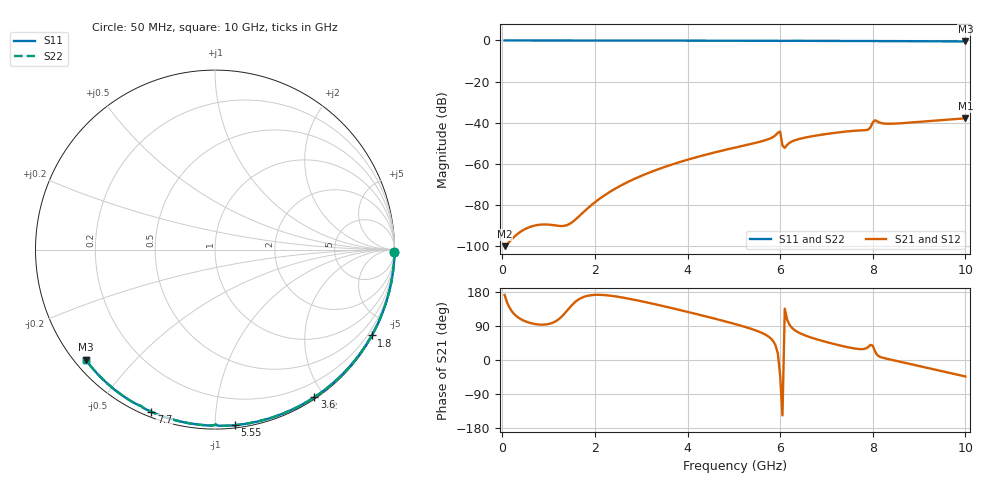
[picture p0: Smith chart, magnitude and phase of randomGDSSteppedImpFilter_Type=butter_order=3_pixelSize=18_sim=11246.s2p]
! freq	dB(S11)	phase(S11)	dB(S12)	phase(S12)
!  dB(S21)	phase(S21)	dB(S22)	phase(S22)
!S-par simulation data
#  GHz  S  DB  R 50
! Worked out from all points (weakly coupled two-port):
!   200 points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, 50 MHz to 10 GHz, reference 50 ohm
!   highest |S21| = -37.84 dB at 10 GHz (marker M1); lowest = -99.9 dB at 50 MHz (marker M2)
!   lowest |S11| = -0.5 dB at 10 GHz (marker M3), VSWR 36.25, Z = 1.57 - j18.4 ohm
!   |S11| at or under -10 dB: nowhere
!   |S22| runs from -0.5 to 0.0 dB; largest |S21 - S12| = 0
!   S11 on the Smith chart (normalised r, x): 50 MHz: open; 1.8 GHz: 0.03, -3.91; 3.6 GHz: 0.02, -1.88; 5.55 GHz: 0.02, -1.12; 7.7 GHz: 0.02, -0.68; 10 GHz: 0.03, -0.37
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0.05  -0.00 -0.8  -99.94 171.7  -99.94 171.7  -0.00 -0.8
1.75  -0.04 -27.9  -83.46 166.1  -83.46 166.1  -0.04 -27.9
1.8  -0.04 -28.7  -82.42 168.1  -82.42 168.1  -0.04 -28.7
1.95  -0.04 -31.0  -79.51 171.5  -79.51 171.5  -0.04 -31.0
2.55  -0.05 -40.3  -70.60 165.8  -70.60 165.8  -0.05 -40.3
3.4  -0.07 -53.1  -62.29 144.3  -62.29 144.3  -0.07 -53.1
3.6  -0.08 -56.0  -60.73 138.7  -60.73 138.7  -0.08 -56.0
5.05  -0.12 -76.7  -51.92 94.1  -51.92 94.1  -0.12 -76.7
5.55  -0.14 -83.6  -49.29 74.5  -49.29 74.5  -0.14 -83.6
5.8  -0.15 -87.0  -47.47 56.7  -47.47 56.7  -0.15 -87.0
6  -0.22 -89.8  -44.32 -40.7  -44.32 -40.7  -0.22 -89.8
6.05  -0.21 -90.0  -51.07 -146.2  -51.07 -146.2  -0.21 -90.0
6.1  -0.18 -90.7  -52.18 135.5  -52.18 135.5  -0.18 -90.7
6.2  -0.17 -92.1  -49.78 93.4  -49.78 93.4  -0.17 -92.1
6.3  -0.17 -93.4  -48.65 80.1  -48.65 80.1  -0.17 -93.4
6.7  -0.19 -98.7  -46.50 58.0  -46.50 58.0  -0.19 -98.7
7.7  -0.26 -111.5  -43.73 28.9  -43.73 28.9  -0.26 -111.5
7.9  -0.28 -114.0  -43.30 34.1  -43.30 34.1  -0.28 -114.0
8.05  -0.32 -115.7  -38.79 22.2  -38.79 22.2  -0.32 -115.7
8.2  -0.30 -117.5  -40.21 6.5  -40.21 6.5  -0.30 -117.5
8.35  -0.31 -119.4  -40.47 2.0  -40.47 2.0  -0.31 -119.4
10  -0.48 -139.6  -37.84 -43.5  -37.84 -43.5  -0.48 -139.6
